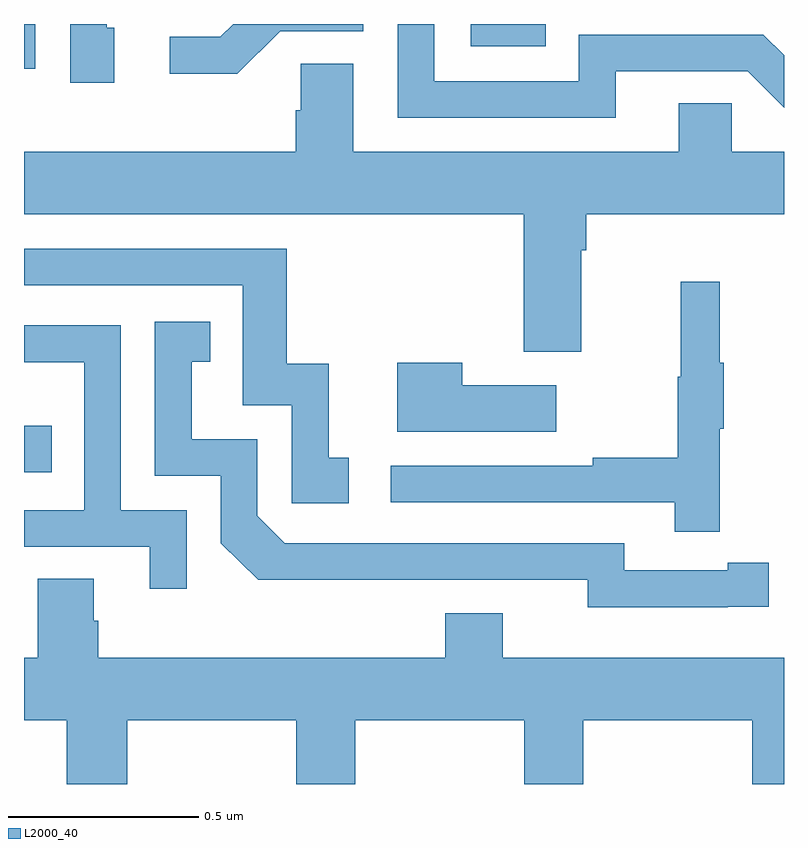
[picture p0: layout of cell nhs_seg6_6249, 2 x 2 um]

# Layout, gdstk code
import gdstk
lib = gdstk.Library(unit=1e-6, precision=1e-09)
def R(c, l, rs):  # rectangles x0, y0, x1, y1
    for r in rs: c.add(gdstk.rectangle(r[:2], r[2:], *l))
def P(c, l, *ps):  # polygons
    for p in ps: c.add(gdstk.Polygon(p, *l))
L2000_40 = (2000, 40)

nhs_seg6_6249 = lib.new_cell('nhs_seg6_6249')
R(nhs_seg6_6249, L2000_40, [(193,949.32,193.073,949.443), (193,950.382,193.029,950.5), (194.175,950.441,194.373,950.5)])
P(nhs_seg6_6249, L2000_40, [(194.557,950.376),(194.904,950.376),(195,950.28),(195,950.418),(194.946,950.472),(194.46,950.472),(194.46,950.349),(194.079,950.349),(194.079,950.5),(193.983,950.5),(193.983,950.253),(194.557,950.253)],
  [(193.237,950.49),(193.218,950.49),(193.218,950.5),(193.122,950.5),(193.122,950.346),(193.237,950.346)],
  [(193.674,950.481),(193.893,950.481),(193.893,950.5),(193.551,950.5),(193.517,950.466),(193.383,950.466),(193.383,950.369),(193.561,950.369)],
  [(194.467,949.904),(194.48,949.904),(194.48,950),(195,950),(195,950.164),(194.862,950.164),(194.862,950.291),(194.723,950.291),(194.723,950.164),(193.867,950.164),(193.867,950.396),(193.728,950.396),(193.728,950.273),(193.715,950.273),(193.715,950.164),(193,950.164),(193,950),(194.315,950),(194.315,949.638),(194.467,949.638)],
  [(193.855,949.359),(193.802,949.359),(193.802,949.606),(193.691,949.606),(193.691,949.908),(193,949.908),(193,949.812),(193.575,949.812),(193.575,949.497),(193.704,949.497),(193.704,949.239),(193.855,949.239)],
  [(194.831,949.435),(194.842,949.435),(194.842,949.609),(194.831,949.609),(194.831,949.822),(194.728,949.822),(194.728,949.572),(194.721,949.572),(194.721,949.358),(194.497,949.358),(194.497,949.338),(193.965,949.338),(193.965,949.242),(194.713,949.242),(194.713,949.164),(194.831,949.164)],
  [(194.852,948.966),(194.96,948.966),(194.96,949.082),(194.852,949.082),(194.852,949.062),(194.58,949.062),(194.58,949.134),(193.686,949.134),(193.614,949.206),(193.614,949.407),(193.441,949.407),(193.441,949.611),(193.49,949.611),(193.49,949.717),(193.344,949.717),(193.344,949.311),(193.518,949.311),(193.518,949.134),(193.616,949.037),(194.024,949.037),(194.024,949.038),(194.484,949.038),(194.484,948.965),(194.852,948.965)],
  [(193.428,949.221),(193.254,949.221),(193.254,949.707),(193,949.707),(193,949.61),(193.158,949.61),(193.158,949.221),(193,949.221),(193,949.125),(193.331,949.125),(193.331,949.014),(193.428,949.014)],
  [(194.401,949.549),(194.153,949.549),(194.153,949.609),(193.982,949.609),(193.982,949.427),(194.401,949.427)],
  [(193.272,948.668),(193.717,948.668),(193.717,948.5),(193.872,948.5),(193.872,948.668),(194.317,948.668),(194.317,948.5),(194.472,948.5),(194.472,948.668),(194.917,948.668),(194.917,948.5),(195,948.5),(195,948.832),(194.26,948.832),(194.26,948.949),(194.108,948.949),(194.108,948.832),(193.196,948.832),(193.196,948.93),(193.183,948.93),(193.183,949.04),(193.036,949.04),(193.036,948.832),(193,948.832),(193,948.668),(193.112,948.668),(193.112,948.5),(193.272,948.5)])

lib.write_gds('nhs_seg6_6249.gds')
